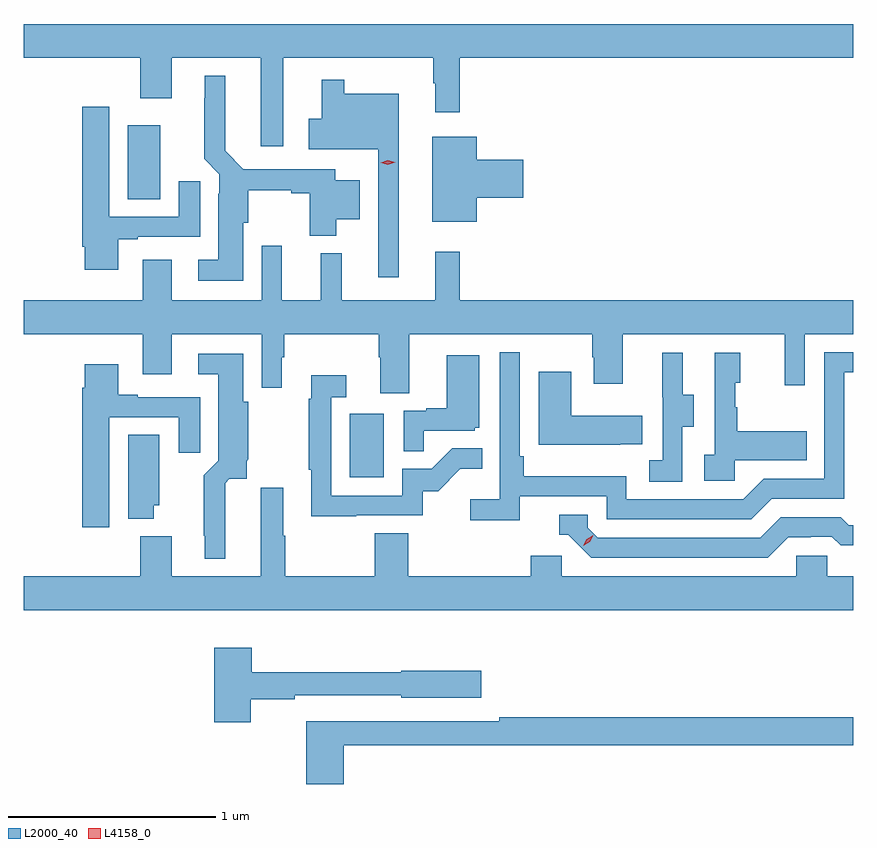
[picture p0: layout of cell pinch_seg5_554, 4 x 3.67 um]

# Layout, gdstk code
import gdstk
lib = gdstk.Library(unit=1e-6, precision=1e-09)
def R(c, l, rs):  # rectangles x0, y0, x1, y1
    for r in rs: c.add(gdstk.rectangle(r[:2], r[2:], *l))
def P(c, l, *ps):  # polygons
    for p in ps: c.add(gdstk.Polygon(p, *l))
L2000_40 = (2000, 40)
L4158_0 = (4158, 0)

pinch_seg5_554 = lib.new_cell('pinch_seg5_554')
R(pinch_seg5_554, L2000_40, [(986.276,853.404,986.44,853.711), (985.205,854.746,985.363,855.103)])
P(pinch_seg5_554, L2000_40, [(985.957,855.428),(986.679,855.428),(986.679,855.305),(986.69,855.305),(986.69,855.165),(986.807,855.165),(986.807,855.428),(988.705,855.428),(988.705,855.592),(984.705,855.592),(984.705,855.428),(985.265,855.428),(985.265,855.234),(985.417,855.234),(985.417,855.428),(985.847,855.428),(985.847,855.003),(985.957,855.003)],
  [(985.762,854.634),(985.788,854.634),(985.788,854.791),(985.994,854.791),(985.994,854.776),(986.083,854.776),(986.083,854.57),(986.212,854.57),(986.212,854.651),(986.326,854.651),(986.326,854.839),(986.206,854.839),(986.206,854.892),(985.762,854.892),(985.675,854.98),(985.675,855.343),(985.577,855.343),(985.577,855.233),(985.574,855.233),(985.574,854.941),(985.647,854.868),(985.647,854.774),(985.643,854.774),(985.643,854.455),(985.545,854.455),(985.545,854.354),(985.762,854.354)],
  [(986.512,855.256),(986.251,855.256),(986.251,855.322),(986.141,855.322),(986.141,855.135),(986.078,855.135),(986.078,854.987),(986.415,854.987),(986.415,854.37),(986.512,854.37)],
  [(985.159,854.553),(985.255,854.553),(985.255,854.565),(985.555,854.565),(985.555,854.833),(985.451,854.833),(985.451,854.661),(985.117,854.661),(985.117,855.193),(984.986,855.193),(984.986,854.518),(984.998,854.518),(984.998,854.406),(985.159,854.406)],
  [(986.89,854.753),(987.115,854.753),(987.115,854.936),(986.89,854.936),(986.89,855.049),(986.675,855.049),(986.675,854.639),(986.89,854.639)],
  [(986.563,854.096),(987.448,854.096),(987.448,853.985),(987.455,853.985),(987.455,853.857),(987.595,853.857),(987.595,854.096),(988.376,854.096),(988.376,853.848),(988.473,853.848),(988.473,854.096),(988.705,854.096),(988.705,854.26),(986.807,854.26),(986.807,854.494),(986.69,854.494),(986.69,854.26),(986.237,854.26),(986.237,854.485),(986.138,854.485),(986.138,854.26),(985.949,854.26),(985.949,854.521),(985.851,854.521),(985.851,854.26),(985.417,854.26),(985.417,854.455),(985.277,854.455),(985.277,854.26),(984.705,854.26),(984.705,854.096),(985.277,854.096),(985.277,853.902),(985.417,853.902),(985.417,854.096),(985.851,854.096),(985.851,853.836),(985.948,853.836),(985.948,853.984),(985.96,853.984),(985.96,854.096),(986.416,854.096),(986.416,853.984),(986.423,853.984),(986.423,853.81),(986.563,853.81)],
  [(987.098,853.314),(987.516,853.314),(987.516,853.203),(988.213,853.203),(988.312,853.302),(988.662,853.302),(988.662,853.911),(988.705,853.911),(988.705,854.007),(988.566,854.007),(988.566,853.398),(988.275,853.398),(988.176,853.299),(987.612,853.299),(987.612,853.411),(987.116,853.411),(987.116,853.507),(987.096,853.507),(987.096,854.008),(987,854.008),(987,853.3),(986.859,853.3),(986.859,853.198),(987.098,853.198)],
  [(987.882,853.648),(987.937,853.648),(987.937,853.803),(987.883,853.803),(987.883,854.005),(987.785,854.005),(987.785,853.791),(987.786,853.791),(987.786,853.487),(987.723,853.487),(987.723,853.384),(987.882,853.384)],
  [(988.134,853.487),(988.481,853.487),(988.481,853.627),(988.147,853.627),(988.147,853.742),(988.137,853.742),(988.137,853.86),(988.162,853.86),(988.162,854.005),(988.038,854.005),(988.038,853.514),(987.987,853.514),(987.987,853.389),(988.134,853.389)],
  [(985.675,853.376),(985.696,853.398),(985.78,853.398),(985.78,853.483),(985.788,853.491),(985.788,853.77),(985.762,853.77),(985.762,854.002),(985.545,854.002),(985.545,853.901),(985.643,853.901),(985.643,853.484),(985.573,853.414),(985.573,853.123),(985.577,853.123),(985.577,853.013),(985.675,853.013)],
  [(986.633,853.629),(986.88,853.629),(986.88,853.644),(986.902,853.644),(986.902,853.993),(986.744,853.993),(986.744,853.738),(986.645,853.738),(986.645,853.725),(986.538,853.725),(986.538,853.531),(986.633,853.531)],
  [(985.117,853.695),(985.451,853.695),(985.451,853.524),(985.555,853.524),(985.555,853.791),(985.255,853.791),(985.255,853.804),(985.159,853.804),(985.159,853.951),(984.998,853.951),(984.998,853.838),(984.986,853.838),(984.986,853.164),(985.117,853.164)],
  [(987.581,853.565),(987.689,853.565),(987.689,853.702),(987.346,853.702),(987.346,853.915),(987.188,853.915),(987.188,853.562),(987.581,853.562)],
  [(986.309,853.221),(986.628,853.221),(986.628,853.338),(986.704,853.338),(986.811,853.445),(986.915,853.445),(986.915,853.544),(986.771,853.544),(986.673,853.446),(986.529,853.446),(986.529,853.317),(986.187,853.317),(986.187,853.791),(986.26,853.791),(986.26,853.897),(986.09,853.897),(986.09,853.784),(986.079,853.784),(986.079,853.441),(986.09,853.441),(986.09,853.216),(986.309,853.216)],
  [(985.33,853.269),(985.357,853.269),(985.357,853.61),(985.208,853.61),(985.208,853.205),(985.33,853.205)],
  [(988.705,852.928),(988.581,852.928),(988.581,853.026),(988.431,853.026),(988.431,852.928),(987.3,852.928),(987.3,853.026),(987.149,853.026),(987.149,852.928),(986.558,852.928),(986.558,853.136),(986.398,853.136),(986.398,852.928),(985.965,852.928),(985.965,853.124),(985.957,853.124),(985.957,853.354),(985.848,853.354),(985.848,853.241),(985.847,853.241),(985.847,852.928),(985.417,852.928),(985.417,853.12),(985.265,853.12),(985.265,852.928),(984.705,852.928),(984.705,852.764),(988.705,852.764)],
  [(988.393,853.116),(988.5,853.116),(988.5,853.119),(988.603,853.119),(988.645,853.077),(988.705,853.077),(988.705,853.173),(988.684,853.173),(988.645,853.212),(988.356,853.212),(988.257,853.113),(987.474,853.113),(987.426,853.161),(987.426,853.224),(987.287,853.224),(987.287,853.128),(987.33,853.128),(987.441,853.017),(988.294,853.017)],
  [(985.8,852.334),(986.012,852.334),(986.012,852.354),(986.526,852.354),(986.526,852.341),(986.911,852.341),(986.911,852.471),(986.526,852.471),(986.526,852.463),(985.805,852.463),(985.805,852.583),(985.622,852.583),(985.622,852.222),(985.8,852.222)],
  [(986.249,852.112),(988.705,852.112),(988.705,852.248),(986.998,852.248),(986.998,852.228),(986.066,852.228),(986.066,851.925),(986.249,851.925)])
P(pinch_seg5_554, L4158_0, [(986.461,854.914),(986.426,854.923),(986.425,854.923),(986.426,854.923),(986.46,854.934),(986.496,854.926),(986.496,854.926),(986.496,854.926)],
  [(987.404,853.074),(987.404,853.075),(987.42,853.107),(987.451,853.126),(987.451,853.126),(987.451,853.126),(987.435,853.094),(987.404,853.074)])

lib.write_gds('pinch_seg5_554.gds')
